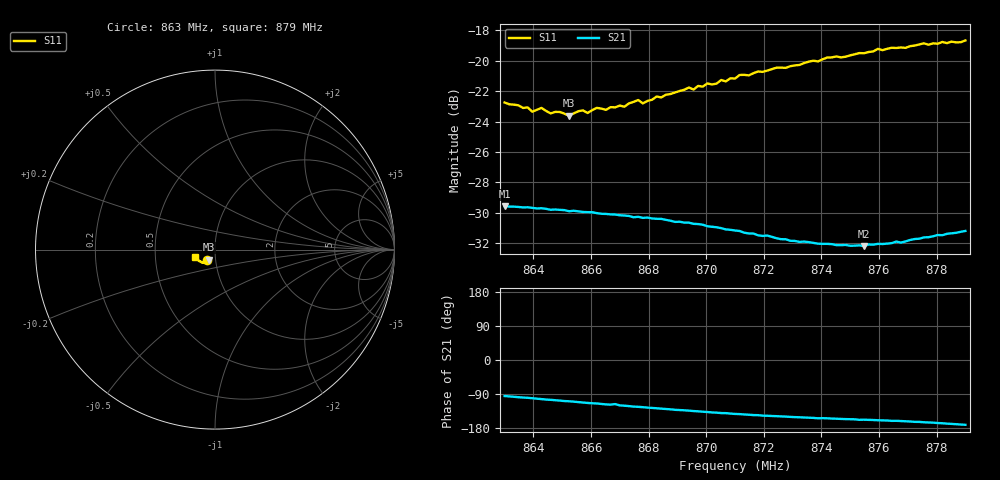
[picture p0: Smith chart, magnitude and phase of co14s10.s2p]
# HZ S RI R 50
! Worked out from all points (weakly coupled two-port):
!   101 points, 863 MHz to 879 MHz, reference 50 ohm
!   highest |S21| = -29.58 dB at 863 MHz (marker M1); lowest = -32.2 dB at 875.48 MHz (marker M2)
!   lowest |S11| = -23.6 dB at 865.24 MHz (marker M3), VSWR 1.14, Z = 46.3 - j5.14 ohm
!   |S11| at or under -10 dB: start of sweep to end of sweep
!   S12 and S22 are empty: the file has one direction only
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8.63e8  -0.0456 -0.0568  -0.00291 -0.0331  0 0  0 0
8.638e8  -0.0423 -0.0561  -0.00555 -0.0325  0 0  0 0
8.6396e8  -0.0396 -0.0552  -0.00624 -0.0322  0 0  0 0
8.6428e8  -0.0409 -0.0568  -0.00745 -0.0318  0 0  0 0
8.646e8  -0.0372 -0.0558  -0.00841 -0.0312  0 0  0 0
8.6492e8  -0.0391 -0.0554  -0.0095 -0.0309  0 0  0 0
8.6524e8  -0.0358 -0.0553  -0.0104 -0.0302  0 0  0 0
8.6572e8  -0.0363 -0.0583  -0.012 -0.0294  0 0  0 0
8.6588e8  -0.0349 -0.0575  -0.0126 -0.0291  0 0  0 0
8.662e8  -0.0384 -0.0585  -0.0132 -0.0286  0 0  0 0
8.6652e8  -0.0341 -0.0599  -0.0143 -0.0278  0 0  0 0
8.6764e8  -0.0374 -0.0641  -0.0169 -0.0255  0 0  0 0
8.678e8  -0.0357 -0.063  -0.0172 -0.025  0 0  0 0
8.6844e8  -0.0385 -0.0652  -0.0187 -0.0236  0 0  0 0
8.694e8  -0.0423 -0.0698  -0.0202 -0.0212  0 0  0 0
8.6956e8  -0.0417 -0.0687  -0.0204 -0.0206  0 0  0 0
8.71e8  -0.0492 -0.0722  -0.0218 -0.0169  0 0  0 0
8.7116e8  -0.0512 -0.0738  -0.0219 -0.0166  0 0  0 0
8.7372e8  -0.0677 -0.0737  -0.0223 -0.0115  0 0  0 0
8.7548e8  -0.0824 -0.0665  -0.0226 -0.00939  0 0  0 0
8.7644e8  -0.0919 -0.0611  -0.0237 -0.00833  0 0  0 0
8.79e8  -0.1099 -0.0392  -0.0272 -0.00431  0 0  0 0
